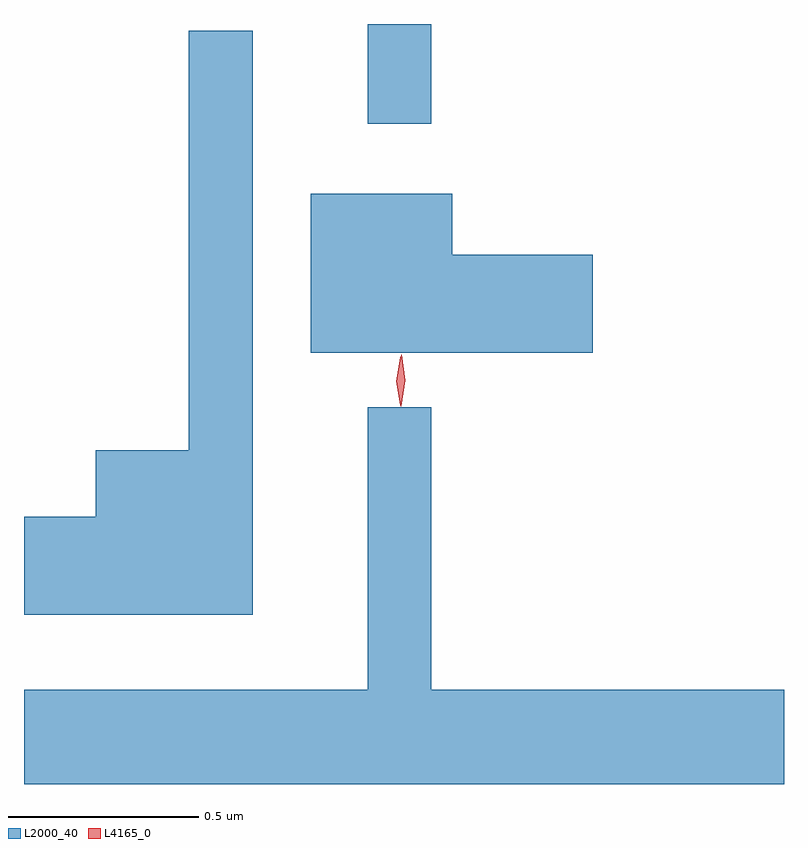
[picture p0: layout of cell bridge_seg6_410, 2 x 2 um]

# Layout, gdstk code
import gdstk
lib = gdstk.Library(unit=1e-6, precision=1e-09)
def R(c, l, rs):  # rectangles x0, y0, x1, y1
    for r in rs: c.add(gdstk.rectangle(r[:2], r[2:], *l))
def P(c, l, *ps):  # polygons
    for p in ps: c.add(gdstk.Polygon(p, *l))
L2000_40 = (2000, 40)
L4165_0 = (4165, 0)

bridge_seg6_410 = lib.new_cell('bridge_seg6_410')
R(bridge_seg6_410, L2000_40, [(957.861,1667.233,958.029,1667.496)])
P(bridge_seg6_410, L2000_40, [(957.559,1667.478),(957.391,1667.478),(957.391,1666.374),(957.146,1666.374),(957.146,1666.199),(956.957,1666.199),(956.957,1665.941),(957.559,1665.941)],
  [(958.454,1666.889),(958.084,1666.889),(958.084,1667.049),(957.711,1667.049),(957.711,1666.631),(958.454,1666.631)],
  [(958.957,1665.744),(958.029,1665.744),(958.029,1666.488),(957.861,1666.488),(957.861,1665.744),(956.957,1665.744),(956.957,1665.496),(958.957,1665.496)])
P(bridge_seg6_410, L4165_0, [(957.949,1666.49),(957.94,1666.558),(957.95,1666.626),(957.951,1666.626),(957.951,1666.626),(957.96,1666.558),(957.95,1666.49),(957.95,1666.49)],
  [(957.947,1666.493),(957.947,1666.493),(957.937,1666.556),(957.947,1666.619),(957.947,1666.62),(957.948,1666.619),(957.957,1666.556),(957.948,1666.493)])

lib.write_gds('bridge_seg6_410.gds')
